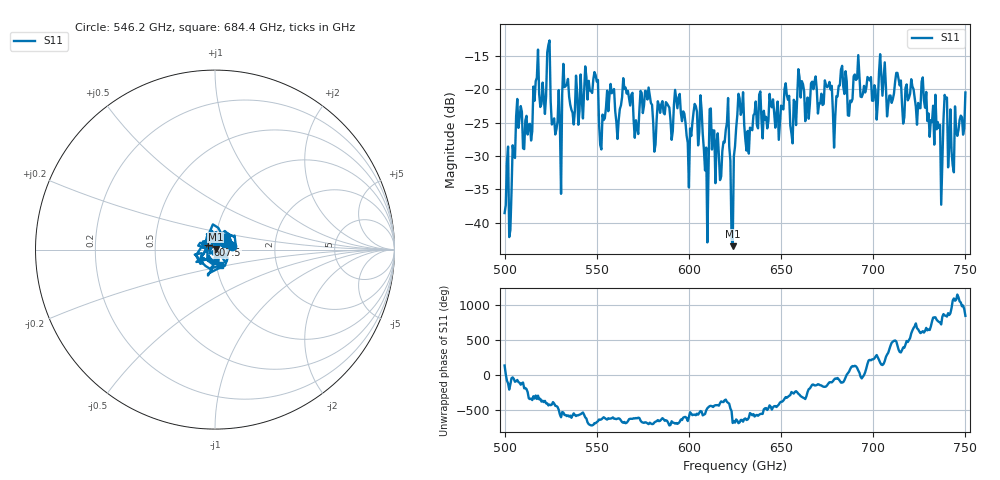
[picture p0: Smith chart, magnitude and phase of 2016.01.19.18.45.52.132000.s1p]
!Created with skrf (http://scikit-rf.org).
# GHz S RI R 50.0
!freq ReS11 ImS11
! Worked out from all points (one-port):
!   401 points, 500 GHz to 750 GHz, reference 50 ohm
!   lowest |S11| = -43.5 dB at 623.8 GHz (marker M1), VSWR 1.01, Z = 50.5 + j0.413 ohm
!   |S11| at or under -10 dB: start of sweep to end of sweep
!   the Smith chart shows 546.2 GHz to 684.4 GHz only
!   S11 on the Smith chart (normalised r, x): 546.2 GHz: 1.21, +0.05; 607.5 GHz: 0.92, +0.05; 684.4 GHz: 1.05, -0.18
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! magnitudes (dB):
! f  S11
! 500 GHz  -38.5
! 503.8 GHz  -35.4
! 507.5 GHz  -25.8
! 513.8 GHz  -25.2
! 516.9 GHz  -18.8
! 531.2 GHz  -20.6
! 546.2 GHz  -20.2
! 562.5 GHz  -23.0
! 593.8 GHz  -22.9
! 600 GHz  -34.7
! 607.5 GHz  -26.7
! 609.4 GHz  -28.7
! 612.5 GHz  -29.0
! 617.5 GHz  -33.0
! 620.6 GHz  -25.0
! 623.8 GHz  -43.5
! 625 GHz  -28.6
! 628.1 GHz  -23.8
! 631.9 GHz  -26.3
! 656.2 GHz  -28.1
! 660.6 GHz  -21.3
! 679.4 GHz  -24.2
! 684.4 GHz  -20.7
! 687.5 GHz  -21.7
! 690.6 GHz  -18.6
! 718.8 GHz  -21.7
! 736.2 GHz  -25.4
! 750 GHz  -20.5
